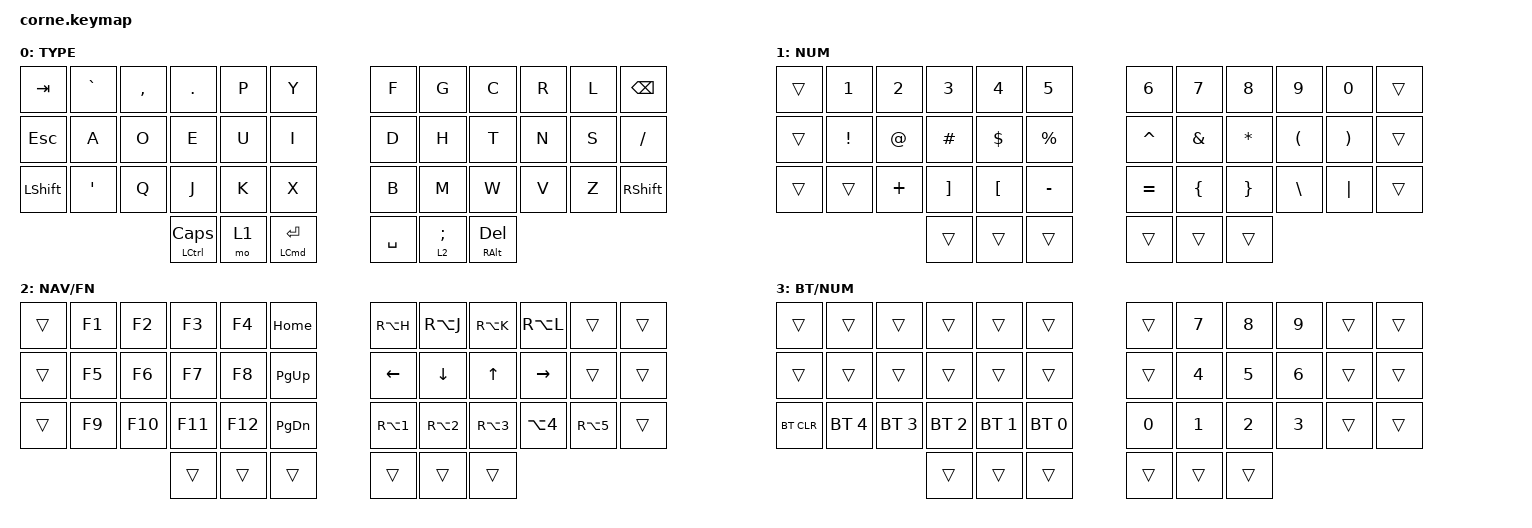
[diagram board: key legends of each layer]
/*
 * Copyright (c) 2020 The ZMK Contributors
 *
 * SPDX-License-Identifier: MIT
 */

#include <behaviors.dtsi>
#include <dt-bindings/zmk/bt.h>
#include <dt-bindings/zmk/keys.h>

&lt { tapping-term-ms = <150>; };

/ {
    chosen {
        zmk,matrix_transform = &default_transform;

        // zmk,matrix_transform = &five_column_transform;
    };
};

/ {
    behaviors {
        td0: td0 {
            compatible = "zmk,behavior-tap-dance";
            label = "TD0";
            #binding-cells = <0>;
            bindings = <&kp LEFT_SHIFT>, <&kp CAPS>;
        };
    };

    combos {
        compatible = "zmk,combos";

        bootloader_left {
            bindings = <&bootloader>;
            key-positions = <0 24>;
            layers = <0>;
        };

        bootloader_right {
            bindings = <&bootloader>;
            key-positions = <11 35>;
            layers = <0>;
        };

        reset_left {
            bindings = <&sys_reset>;
            key-positions = <0 36>;
            layers = <0>;
        };

        reset_right {
            bindings = <&sys_reset>;
            key-positions = <11 41>;
            layers = <0>;
        };
    };

    macros {
        vscode: vscode {
            compatible = "zmk,behavior-macro";
            #binding-cells = <0>;
            bindings = <&kp LC(SEMICOLON)>;
            label = "VSCODE";
        };
    };

    keymap {
        compatible = "zmk,keymap";

        type_layer {
            display-name = "TYPE";

            // --------------------------------------------------------------------------------
            // |  TAB |  Q  |  W  |  E  |  R  |  T  |   |  Y  |  U   |  I  |  O  |  P  | BKSP |
            // | CTRL |  A  |  S  |  D  |  F  |  G  |   |  H  |  J   |  K  |  L  |  ;  |  '   | 
            // | SHFT |  Z  |  X  |  C  |  V  |  B  |   |  N  |  M   |  ,  |  .  |  /  | ESC  |
            //                    | GUI | LWR | SPC |   | ENT | RSE  | ALT |

            bindings = <
&kp TAB     &kp GRAVE       &kp COMMA  &kp DOT             &kp P  &kp Y                     &kp F      &kp G            &kp C            &kp R  &kp L  &kp BSPC
&kp ESCAPE  &kp A           &kp O      &kp E               &kp U  &kp I                     &kp D      &kp H            &kp T            &kp N  &kp S  &kp FSLH
&kp LSHFT   &kp APOSTROPHE  &kp Q      &kp J               &kp K  &kp X                     &kp B      &kp M            &kp W            &kp V  &kp Z  &kp RSHFT
                                       &mt LCTRL CAPSLOCK  &mo 1  &mt LEFT_COMMAND ENTER    &kp SPACE  &lt 2 SEMICOLON  &mt RALT DELETE
            >;
        };

        num_layer {
            display-name = "NUM";

            // -----------------------------------------------------------------------------------------
            // |  TAB |  1  |  2  |  3  |  4  |  5  |   |  6  |  7  |  8  |  9  |  0  | BKSP |
            // | BTCLR| BT1 | BT2 | BT3 | BT4 | BT5 |   | LFT | DWN |  UP | RGT |     |      |
            // | SHFT |     |     |     |     |     |   |     |     |     |     |     |      |
            //                    | GUI |     | SPC |   | ENT |     | ALT |

            bindings = <
&trans  &kp N1           &kp N2       &kp N3             &kp N4            &kp N5         &kp N6     &kp N7          &kp N8           &kp N9                &kp N0                 &trans
&trans  &kp EXCLAMATION  &kp AT_SIGN  &kp POUND          &kp DOLLAR        &kp PERCENT    &kp CARET  &kp AMPERSAND   &kp ASTERISK     &kp LEFT_PARENTHESIS  &kp RIGHT_PARENTHESIS  &trans
&trans  &trans           &kp PLUS     &kp RIGHT_BRACKET  &kp LEFT_BRACKET  &kp MINUS      &kp EQUAL  &kp LEFT_BRACE  &kp RIGHT_BRACE  &kp BACKSLASH         &kp PIPE               &trans
                                      &trans             &trans            &trans         &trans     &trans          &trans
            >;
        };

        nav_layer {
            display-name = "NAV/FN";

            // -----------------------------------------------------------------------------------------
            // |  TAB |  !  |  @  |  #  |  $  |  %  |   |  ^  |  &  |  *  |  (  |  )  | BKSP |
            // | CTRL |     |     |     |     |     |   |  -  |  =  |  [  |  ]  |  \  |  `   |
            // | SHFT |     |     |     |     |     |   |  _  |  +  |  {  |  }  | "|" |  ~   |
            //                    | GUI |     | SPC |   | ENT |     | ALT |

            bindings = <
&trans  &kp F1  &kp F2   &kp F3   &kp F4   &kp HOME     &kp RA(H)         &kp RA(J)         &kp RA(K)         &kp RA(L)         &trans            &trans
&trans  &kp F5  &kp F6   &kp F7   &kp F8   &kp PG_UP    &kp LEFT          &kp DOWN          &kp UP            &kp RIGHT         &trans            &trans
&trans  &kp F9  &kp F10  &kp F11  &kp F12  &kp PG_DN    &kp RA(NUMBER_1)  &kp RA(NUMBER_2)  &kp RA(NUMBER_3)  &kp LA(NUMBER_4)  &kp RA(NUMBER_5)  &trans
                         &trans   &trans   &trans       &trans            &trans            &trans
            >;
        };

        bt_layer {
            bindings = <
&trans      &trans        &trans        &trans        &trans        &trans          &trans  &kp N7  &kp N8  &kp N9  &trans  &trans
&trans      &trans        &trans        &trans        &trans        &trans          &trans  &kp N4  &kp N5  &kp N6  &trans  &trans
&bt BT_CLR  &bt BT_SEL 4  &bt BT_SEL 3  &bt BT_SEL 2  &bt BT_SEL 1  &bt BT_SEL 0    &kp N0  &kp N1  &kp N2  &kp N3  &trans  &trans
                                        &trans        &trans        &trans          &trans  &trans  &trans
            >;

            label = "BT/NUM";
        };
    };

    conditional_layers {
        compatible = "zmk,conditional-layers";

        fn {
            if-layers = <1 2>;
            then-layer = <3>;
        };
    };
};
